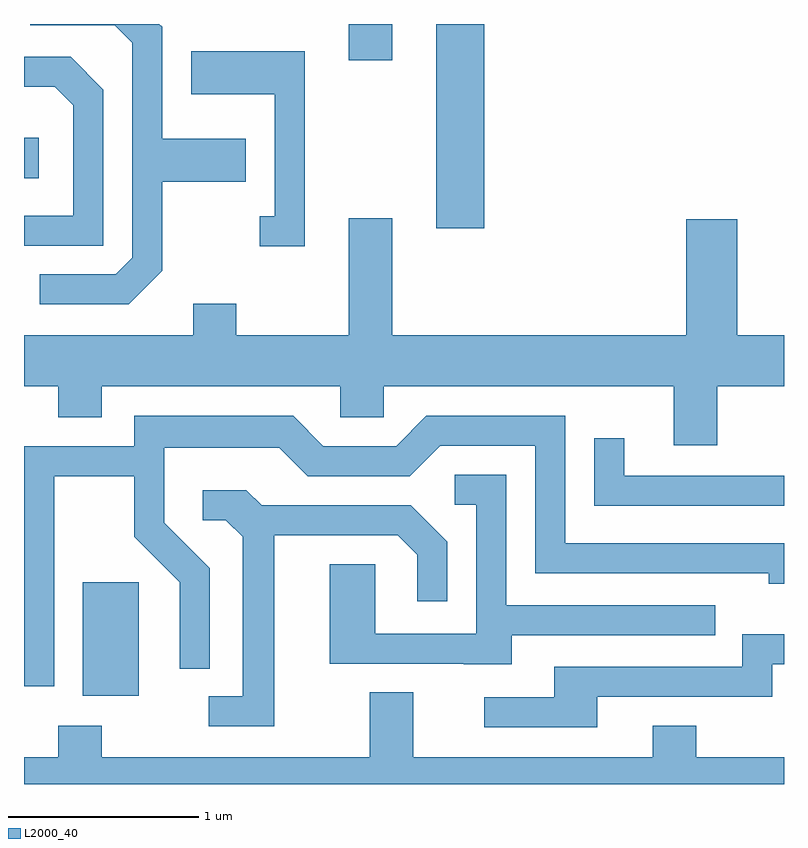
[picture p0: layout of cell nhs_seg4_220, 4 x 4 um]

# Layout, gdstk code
import gdstk
lib = gdstk.Library(unit=1e-6, precision=1e-09)
def R(c, l, rs):  # rectangles x0, y0, x1, y1
    for r in rs: c.add(gdstk.rectangle(r[:2], r[2:], *l))
def P(c, l, *ps):  # polygons
    for p in ps: c.add(gdstk.Polygon(p, *l))
L2000_40 = (2000, 40)

nhs_seg4_220 = lib.new_cell('nhs_seg4_220')
R(nhs_seg4_220, L2000_40, [(191.921,1286.446,192.214,1287.044), (193.781,1288.906,194.034,1289.982), (191.611,1289.171,191.689,1289.384), (193.321,1289.791,193.549,1289.982)])
P(nhs_seg4_220, L2000_40, [(192.339,1288.684),(192.339,1289.151),(192.779,1289.151),(192.779,1289.379),(192.339,1289.379),(192.339,1289.967),(192.324,1289.982),(191.643,1289.982),(191.643,1289.976),(192.089,1289.976),(192.181,1289.884),(192.181,1288.752),(192.094,1288.664),(191.693,1288.664),(191.693,1288.506),(192.162,1288.506)],
  [(193.089,1289.839),(192.491,1289.839),(192.491,1289.611),(192.931,1289.611),(192.931,1288.969),(192.853,1288.969),(192.853,1288.811),(193.089,1288.811)],
  [(192.029,1289.637),(191.857,1289.809),(191.611,1289.809),(191.611,1289.651),(191.774,1289.651),(191.871,1289.554),(191.871,1288.974),(191.611,1288.974),(191.611,1288.816),(192.029,1288.816)],
  [(195.259,1288.076),(195.611,1288.076),(195.611,1288.344),(195.364,1288.344),(195.364,1288.954),(195.096,1288.954),(195.096,1288.344),(193.549,1288.344),(193.549,1288.959),(193.321,1288.959),(193.321,1288.344),(192.729,1288.344),(192.729,1288.509),(192.501,1288.509),(192.501,1288.344),(191.611,1288.344),(191.611,1288.076),(191.791,1288.076),(191.791,1287.911),(192.019,1287.911),(192.019,1288.076),(193.276,1288.076),(193.276,1287.911),(193.504,1287.911),(193.504,1288.076),(195.031,1288.076),(195.031,1287.766),(195.259,1287.766)],
  [(191.769,1287.601),(192.191,1287.601),(192.191,1287.284),(192.431,1287.044),(192.431,1286.588),(192.589,1286.588),(192.589,1287.117),(192.349,1287.357),(192.349,1287.751),(192.954,1287.751),(193.104,1287.601),(193.642,1287.601),(193.802,1287.761),(194.301,1287.761),(194.301,1287.091),(195.531,1287.091),(195.531,1287.036),(195.611,1287.036),(195.611,1287.249),(194.459,1287.249),(194.459,1287.919),(193.729,1287.919),(193.569,1287.759),(193.187,1287.759),(193.027,1287.919),(192.191,1287.919),(192.191,1287.759),(191.611,1287.759),(191.611,1286.496),(191.769,1286.496)],
  [(195.611,1287.604),(194.769,1287.604),(194.769,1287.803),(194.611,1287.803),(194.611,1287.446),(195.611,1287.446)],
  [(194.179,1286.766),(195.248,1286.766),(195.248,1286.924),(194.149,1286.924),(194.149,1287.609),(193.878,1287.609),(193.878,1287.451),(193.991,1287.451),(193.991,1286.774),(193.459,1286.774),(193.459,1287.139),(193.221,1287.139),(193.221,1286.616),(193.925,1286.616),(193.925,1286.611),(194.179,1286.611)],
  [(192.929,1287.291),(193.579,1287.291),(193.681,1287.189),(193.681,1286.943),(193.839,1286.943),(193.839,1287.257),(193.647,1287.449),(192.862,1287.449),(192.782,1287.529),(192.553,1287.529),(192.553,1287.371),(192.674,1287.371),(192.761,1287.284),(192.761,1286.444),(192.583,1286.444),(192.583,1286.286),(192.929,1286.286)],
  [(194.629,1286.441),(195.549,1286.441),(195.549,1286.611),(195.611,1286.611),(195.611,1286.769),(195.391,1286.769),(195.391,1286.599),(194.401,1286.599),(194.401,1286.439),(194.033,1286.439),(194.033,1286.281),(194.629,1286.281)],
  [(195.611,1286.124),(195.149,1286.124),(195.149,1286.289),(194.921,1286.289),(194.921,1286.124),(193.659,1286.124),(193.659,1286.464),(193.431,1286.464),(193.431,1286.124),(192.019,1286.124),(192.019,1286.289),(191.791,1286.289),(191.791,1286.124),(191.611,1286.124),(191.611,1285.982),(195.611,1285.982)])

lib.write_gds('nhs_seg4_220.gds')
